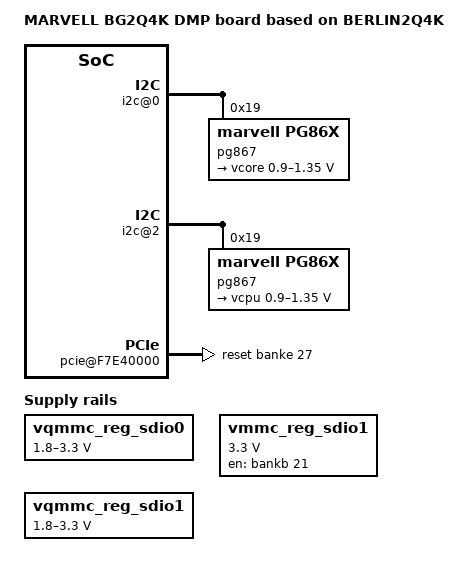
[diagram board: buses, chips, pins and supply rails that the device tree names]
/*
 * MARVELL BERLIN2Q4K DMP board device tree source
 *
 * Author:	Jisheng Zhang <jszhang@marvell.com>
 * Copyright (c) 2013 Marvell International Ltd.
 *		http://www.marvell.com
 *
 * This program is free software; you can redistribute it and/or modify
 * it under the terms of the GNU General Public License version 2 as
 * published by the Free Software Foundation.
*/

/dts-v1/;
/include/ "berlin2q4k.dtsi"

/ {
	model = "MARVELL BG2Q4K DMP board based on BERLIN2Q4K";
	compatible = "marvell,berlin2q4k-dmp", "marvell,berlin2q4k", "marvell,berlin";

	cpus {
		cpu@0 {
			cpu0-supply = <&vcpu>;
		};
	};

	soc {
		sdhci@F7AB0000 {
			vqmmc-supply = <&vqmmc_reg_sdio0>;
		};

		sdhci@F7AB0800 {
			vmmc-supply = <&vmmc_reg_sdio1>;
			vqmmc-supply = <&vqmmc_reg_sdio1>;
		};

		vqmmc_reg_sdio0: vqmmc_sdio0 {
			compatible = "regulator-gpio";
			regulator-min-microvolt = <1800000>;
			regulator-max-microvolt = <3300000>;
			regulator-name = "vqmmc_sdio0";
			regulator-type = "voltage";
			gpios = <&banke 7 0>;
			states = <3300000 0x1
				1800000 0x0>;
		};

		vmmc_reg_sdio1: vmmc_sdio1 {
			compatible = "regulator-fixed";
			regulator-min-microvolt = <3300000>;
			regulator-max-microvolt = <3300000>;
			regulator-name = "vmmc_sdio1";
			enable-active-high;
			regulator-boot-on;
			gpio = <&bankb 21 0>;
		};

		vqmmc_reg_sdio1: vqmmc_sdio1 {
			compatible = "regulator-gpio";
			regulator-min-microvolt = <1800000>;
			regulator-max-microvolt = <3300000>;
			regulator-name = "vqmmc_sdio1";
			regulator-type = "voltage";
			enable-active-high;
			gpios = <&bankb 16 0>;
			states = <3300000 0x1
				1800000 0x0>;
		};

		sdhci@F7AB0000 {
			marvell,txcfg = <0x802000b0>;
		};

		i2c@0 {
			pg867 {
				#address-cells = <1>;
				#size-cells = <0>;
				compatible = "marvell,pg86x";
				reg = <0x19>;
				vcore:BK1_TV@0 {
					regulator-name = "vcore";
					regulator-min-microvolt = <900000>;
					regulator-max-microvolt = <1350000>;
					regulator-always-on;
					regulator-boot-on;
				};
			};
		};

		i2c@2 {
			pg867 {
				#address-cells = <1>;
				#size-cells = <0>;
				compatible = "marvell,pg86x";
				reg = <0x19>;
				vcpu:BK1_TV@1 {
					regulator-name = "vcpu";
					regulator-min-microvolt = <900000>;
					regulator-max-microvolt = <1350000>;
					regulator-always-on;
					regulator-boot-on;
				};
			};
		};

		pcie@F7E40000 {
			reset-gpio = <&banke 27 0>;
			status = "okay";
		};
	};
};
